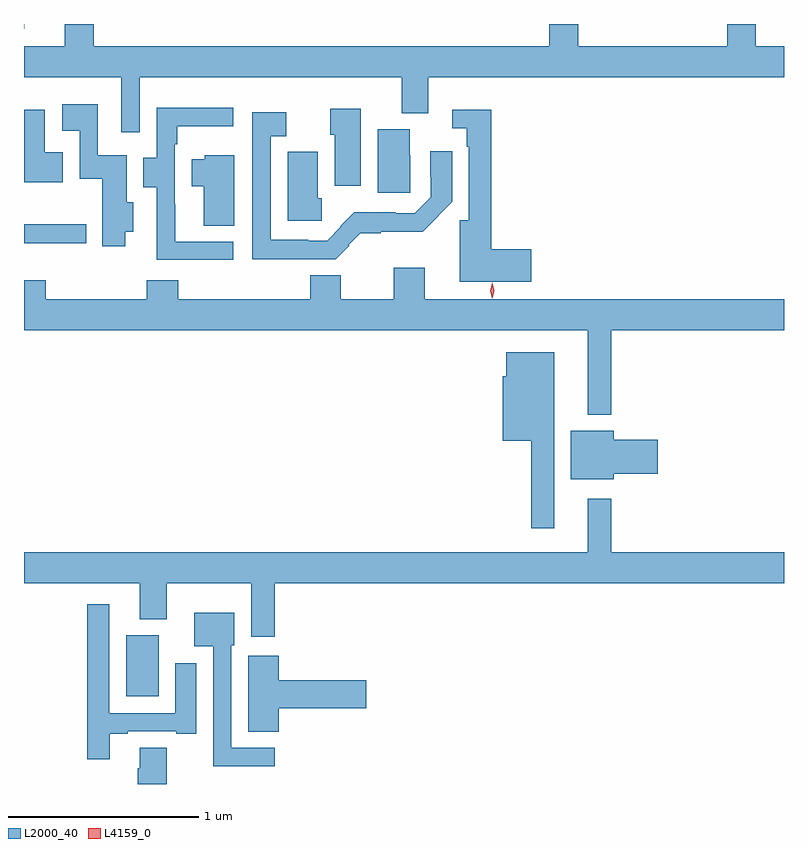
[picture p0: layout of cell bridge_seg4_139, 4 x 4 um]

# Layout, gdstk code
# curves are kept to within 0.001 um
import gdstk
lib = gdstk.Library(unit=1e-6, precision=1e-09)
def R(c, l, rs):  # rectangles x0, y0, x1, y1
    for r in rs: c.add(gdstk.rectangle(r[:2], r[2:], *l))
def P(c, l, *ps):  # polygons
    for p in ps: c.add(gdstk.Polygon(p, *l))
L2000_40 = (2000, 40)
L4159_0 = (4159, 0)

bridge_seg4_139 = lib.new_cell('bridge_seg4_139')
R(bridge_seg4_139, L2000_40, [(326.753,805.55,326.923,805.87), (326.215,807.935,326.542,808.035), (326.215,809.064,326.216,809.088)])
P(bridge_seg4_139, L2000_40, [(326.823,808.808),(328.202,808.808),(328.202,808.619),(328.342,808.619),(328.342,808.808),(330.215,808.808),(330.215,808.972),(330.067,808.972),(330.067,809.088),(329.915,809.088),(329.915,808.972),(329.131,808.972),(329.131,809.088),(328.979,809.088),(328.979,808.972),(326.582,808.972),(326.582,809.088),(326.429,809.088),(326.429,808.972),(326.215,808.972),(326.215,808.808),(326.727,808.808),(326.727,808.518),(326.823,808.518)],
  [(326.749,807.994),(326.791,807.994),(326.791,808.149),(326.755,808.149),(326.755,808.396),(326.604,808.396),(326.604,808.666),(326.415,808.666),(326.415,808.526),(326.508,808.526),(326.508,808.274),(326.627,808.274),(326.627,807.918),(326.749,807.918)],
  [(327.316,807.942),(327.01,807.942),(327.01,808.139),(327.009,808.139),(327.009,808.454),(327.022,808.454),(327.022,808.55),(327.316,808.55),(327.316,808.648),(326.913,808.648),(326.913,808.383),(326.843,808.383),(326.843,808.228),(326.913,808.228),(326.913,807.846),(327.316,807.846)],
  [(327.988,808.642),(327.827,808.642),(327.827,808.506),(327.851,808.506),(327.851,808.236),(327.988,808.236)],
  [(328.885,807.902),(328.673,807.902),(328.673,808.636),(328.47,808.636),(328.47,808.539),(328.545,808.539),(328.545,808.442),(328.557,808.442),(328.557,808.056),(328.508,808.056),(328.508,807.731),(328.885,807.731)],
  [(326.419,808.414),(326.323,808.414),(326.323,808.636),(326.215,808.636),(326.215,808.256),(326.419,808.256)],
  [(327.927,807.921),(327.923,807.925),(327.985,807.987),(328.093,807.987),(328.093,807.995),(328.313,807.995),(328.468,808.152),(328.468,808.417),(328.352,808.417),(328.352,808.284),(328.356,808.284),(328.356,808.176),(328.272,808.092),(328.172,808.092),(328.172,808.097),(327.953,808.097),(327.879,808.023),(327.882,808.02),(327.81,807.948),(327.71,807.948),(327.71,807.952),(327.513,807.952),(327.513,808.496),(327.596,808.496),(327.596,808.624),(327.417,808.624),(327.417,807.851),(327.857,807.851)],
  [(328.249,808.398),(328.246,808.398),(328.246,808.534),(328.076,808.534),(328.076,808.2),(328.249,808.2)],
  [(327.783,808.17),(327.76,808.17),(327.76,808.415),(327.602,808.415),(327.602,808.053),(327.783,808.053)],
  [(327.322,808.396),(327.165,808.396),(327.165,808.375),(327.098,808.375),(327.098,808.235),(327.161,808.235),(327.161,808.027),(327.322,808.027)],
  [(329.305,807.476),(330.215,807.476),(330.215,807.64),(328.324,807.64),(328.324,807.805),(328.16,807.805),(328.16,807.64),(327.883,807.64),(327.883,807.766),(327.722,807.766),(327.722,807.64),(327.026,807.64),(327.026,807.739),(326.861,807.739),(326.861,807.64),(326.33,807.64),(326.33,807.739),(326.215,807.739),(326.215,807.476),(329.183,807.476),(329.183,807.032),(329.305,807.032)],
  [(329.005,807.361),(328.754,807.361),(328.754,807.234),(328.736,807.234),(328.736,806.894),(328.884,806.894),(328.884,806.433),(329.005,806.433)],
  [(329.32,806.722),(329.551,806.722),(329.551,806.9),(329.32,806.9),(329.32,806.947),(329.093,806.947),(329.093,806.693),(329.32,806.693)],
  [(327.536,806.144),(330.215,806.144),(330.215,806.308),(329.305,806.308),(329.305,806.59),(329.183,806.59),(329.183,806.308),(326.215,806.308),(326.215,806.144),(326.825,806.144),(326.825,805.955),(326.965,805.955),(326.965,806.144),(327.41,806.144),(327.41,805.863),(327.536,805.863)],
  [(326.665,805.353),(326.761,805.353),(326.761,805.365),(327.017,805.365),(327.017,805.353),(327.121,805.353),(327.121,805.723),(327.011,805.723),(327.011,805.461),(326.664,805.461),(326.664,806.035),(326.548,806.035),(326.548,805.218),(326.665,805.218)],
  [(327.535,805.278),(327.306,805.278),(327.306,805.818),(327.322,805.818),(327.322,805.99),(327.11,805.99),(327.11,805.814),(327.21,805.814),(327.21,805.181),(327.535,805.181)],
  [(327.557,805.487),(328.015,805.487),(328.015,805.634),(327.557,805.634),(327.557,805.762),(327.395,805.762),(327.395,805.363),(327.557,805.363)],
  [(326.965,805.28),(326.825,805.28),(326.825,805.172),(326.813,805.172),(326.813,805.088),(326.965,805.088)])
P(bridge_seg4_139, L4159_0, [(328.679,807.644),(328.679,807.644),(328.67,807.685),(328.68,807.725),(328.68,807.726),(328.68,807.725),(328.69,807.685),(328.68,807.644)])

lib.write_gds('bridge_seg4_139.gds')
